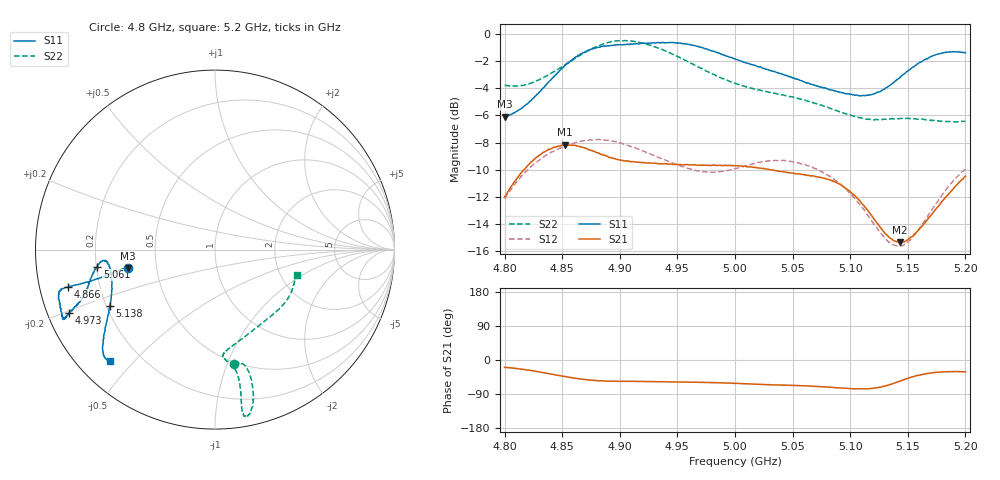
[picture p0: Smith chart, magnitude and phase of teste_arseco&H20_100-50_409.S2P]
! Network Analyzer HP8722D
! Hewlett-Packard
! Data name: Linha & Wilkinson
! Saver's name: Rodrigo Anjos
! Comments: Teste da utilização de aquisição
! continua pelo VNA HP8722D
! Time and date: 6/5/2025 15:58
!  Frequency  S11  S21  S12  S22
# HZ  S  MA R 50
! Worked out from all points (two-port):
!   401 points, 4.8 GHz to 5.2 GHz, reference 50 ohm
!   highest |S21| = -8.16 dB at 4.852 GHz (marker M1); lowest = -15.3 dB at 5.143 GHz (marker M2)
!   |S21| within 3 dB of the highest: 4.806 GHz to 5.093 GHz (286.7 MHz wide, 5.79 % of centre); 5.191967 GHz to end of sweep
!   lowest |S11| = -6.1 dB at 4.8 GHz (marker M3), VSWR 2.97, Z = 17 - j4.62 ohm
!   |S11| at or under -10 dB: nowhere
!   |S22| runs from -6.5 to -0.5 dB; largest |S21 - S12| = 0.62
!   S11 on the Smith chart (normalised r, x): 4.8 GHz: 0.34, -0.09; 4.866 GHz: 0.09, -0.12; 4.973 GHz: 0.06, -0.21; 5.061 GHz: 0.20, -0.07; 5.138 GHz: 0.21, -0.24; 5.2 GHz: 0.10, -0.43
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4.8e9  0.4961 -168.1  0.2511 -19.5  0.2479 -140.7  0.6479 -80.4
4.823e9  0.5694 -167.5  0.3376 -27.8  0.3248 -143.5  0.6591 -76.0
4.852e9  0.7625 -165.7  0.3909 -43.5  0.3862 -149.2  0.7682 -74.4
4.866e9  0.8443 -165.7  0.384 -50.0  0.4029 -151.6  0.8364 -75.2
4.867e9  0.8467 -165.6  0.3833 -50.6  0.4034 -151.8  0.8441 -75.3
4.883e9  0.8946 -164.9  0.3612 -54.9  0.4084 -154.5  0.9102 -77.0
4.9e9  0.9137 -162.5  0.344 -56.1  0.3967 -156.3  0.9432 -79.1
4.934e9  0.9283 -156.2  0.3329 -57.4  0.3512 -155.5  0.8834 -80.4
4.951e9  0.923 -155.3  0.3305 -58.1  0.3288 -152.3  0.8234 -79.8
4.973e9  0.8868 -156.6  0.3291 -59.4  0.3109 -145.7  0.7375 -79.7
5e9  0.8102 -158.8  0.3277 -61.7  0.3196 -137.1  0.658 -81.1
5.035e9  0.725 -165.2  0.314 -65.6  0.3428 -134.2  0.6044 -85.5
5.061e9  0.6628 -171.7  0.3033 -68.2  0.3305 -136.0  0.5707 -84.0
5.067e9  0.6513 -172.9  0.3011 -69.0  0.3234 -136.6  0.5594 -82.6
5.088e9  0.6165 -174.2  0.2844 -73.0  0.2874 -138.4  0.5229 -74.3
5.103e9  0.5971 -171.4  0.2558 -76.0  0.2511 -138.5  0.4983 -65.4
5.134e9  0.645 -154.2  0.1783 -65.4  0.171 -120.9  0.4866 -43.3
5.138e9  0.6655 -151.9  0.1734 -61.3  0.1673 -115.7  0.4868 -40.8
5.143e9  0.689 -149.1  0.171 -55.9  0.1657 -109.1  0.4881 -38.0
5.154e9  0.7538 -144.4  0.1801 -44.5  0.1783 -95.1  0.4881 -32.3
5.172e9  0.8326 -138.8  0.2204 -33.5  0.2293 -81.1  0.4813 -24.5
5.2e9  0.8514 -133.4  0.2994 -31.2  0.3183 -76.8  0.4768 -17.4
